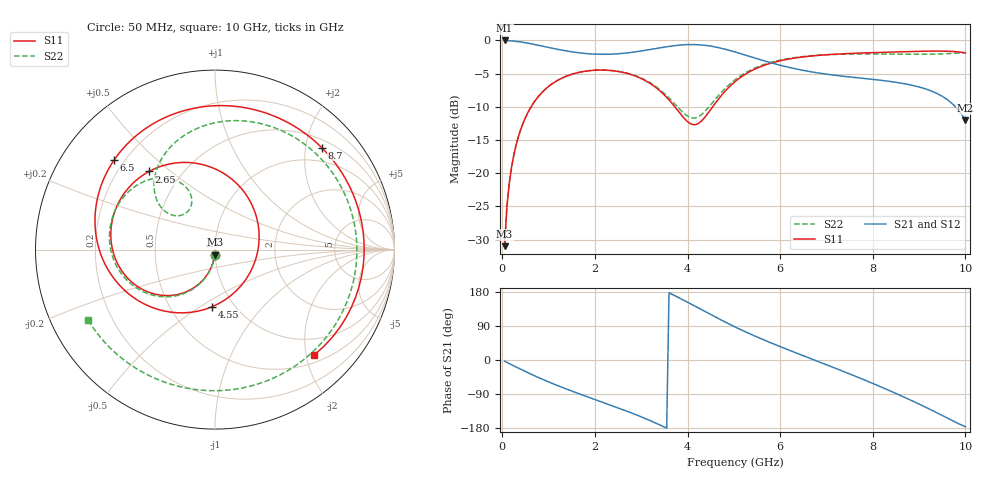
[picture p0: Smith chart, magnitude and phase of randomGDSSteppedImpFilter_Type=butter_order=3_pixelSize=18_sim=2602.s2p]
! freq	dB(S11)	phase(S11)	dB(S12)	phase(S12)
!  dB(S21)	phase(S21)	dB(S22)	phase(S22)
!S-par simulation data
#  GHz  S  DB  R 50
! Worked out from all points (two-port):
!   200 points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, 50 MHz to 10 GHz, reference 50 ohm
!   highest |S21| = -0.01 dB at 50 MHz (marker M1); lowest = -12.0 dB at 10 GHz (marker M2)
!   |S21| within 3 dB of the highest: start of sweep to 5.622 GHz
!   lowest |S11| = -31.0 dB at 50 MHz (marker M3), VSWR 1.06, Z = 49.8 - j2.81 ohm
!   |S11| at or under -10 dB: start of sweep to 623.1 MHz; 3.726 GHz to 4.543 GHz (817.2 MHz wide, 19.8 % of centre)
!   |S22| runs from -31.0 to -1.8 dB; largest |S21 - S12| = 0
!   S11 on the Smith chart (normalised r, x): 50 MHz: 1.00, -0.06; 2.65 GHz: 0.33, +0.42; 4.55 GHz: 0.79, -0.56; 6.5 GHz: 0.16, +0.37; 8.7 GHz: 0.66, +2.33; 10 GHz: 0.64, -2.14
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0.05  -30.99 -93.3  -0.01 -3.2  -0.01 -3.2  -30.99 -93.2
0.1  -25.00 -96.7  -0.02 -6.3  -0.02 -6.3  -25.00 -96.5
0.2  -19.09 -103.1  -0.07 -12.4  -0.07 -12.4  -19.09 -102.8
0.5  -11.63 -121.4  -0.35 -30.4  -0.35 -30.4  -11.63 -120.5
1.05  -6.66 -151.9  -1.14 -60.3  -1.14 -60.3  -6.66 -149.8
1.75  -4.69 174.0  -1.94 -93.2  -1.94 -93.2  -4.68 178.7
2.65  -4.89 130.1  -1.92 -133.2  -1.92 -133.2  -4.85 143.2
3.4  -7.57 80.9  -1.12 -171.2  -1.12 -171.2  -7.40 118.0
4  -12.23 5.7  -0.63 152.5  -0.63 152.5  -11.39 120.9
4.25  -12.44 -43.6  -0.66 136.2  -0.66 136.2  -11.43 134.5
4.55  -9.93 -92.9  -0.92 116.7  -0.92 116.7  -9.28 142.5
5.05  -6.07 -142.5  -1.79 85.9  -1.79 85.9  -5.79 131.2
5.75  -3.53 173.7  -3.27 47.8  -3.27 47.8  -3.41 100.5
6.5  -2.48 138.4  -4.51 11.3  -4.51 11.3  -2.43 63.7
6.7  -2.33 129.9  -4.76 1.8  -4.76 1.8  -2.30 53.5
7.6  -1.94 92.9  -5.58 -41.6  -5.58 -41.6  -2.04 4.4
8.35  -1.77 60.5  -6.16 -80.2  -6.16 -80.2  -2.06 -40.6
8.7  -1.70 43.7  -6.55 -99.3  -6.55 -99.3  -2.08 -62.8
9.1  -1.63 22.2  -7.22 -122.1  -7.22 -122.1  -2.09 -88.8
9.45  -1.61 0.1  -8.22 -143.2  -8.22 -143.2  -2.04 -112.2
9.75  -1.67 -23.1  -9.76 -161.8  -9.76 -161.8  -1.95 -132.9
10  -1.87 -47.0  -12.05 -176.2  -12.05 -176.2  -1.85 -150.8
